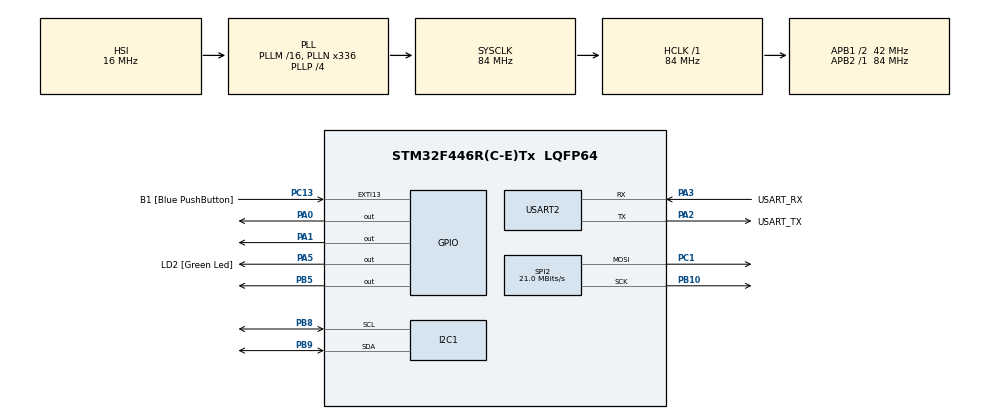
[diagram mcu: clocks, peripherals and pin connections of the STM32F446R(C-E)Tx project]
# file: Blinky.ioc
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Mcu.Family=STM32F4
Mcu.Name=STM32F446R(C-E)Tx
Mcu.Package=LQFP64
NVIC.PriorityGroup=NVIC_PRIORITYGROUP_0
PA0-WKUP.Signal=GPIO_Output
PA1.Signal=GPIO_Output
PA13.GPIO_Label=TMS
PA13.Mode=Serial_Wire
PA13.Signal=SYS_JTMS-SWDIO
PA14.GPIO_Label=TCK
PA14.Mode=Serial_Wire
PA14.Signal=SYS_JTCK-SWCLK
PA2.GPIO_Label=USART_TX
PA2.Mode=Asynchronous
PA2.Signal=USART2_TX
PA3.GPIO_Label=USART_RX
PA3.Mode=Asynchronous
PA3.Signal=USART2_RX
PA5.GPIO_Label=LD2 [Green Led]
PA5.Signal=GPIO_Output
PB10.Mode=TX_Only_Simplex_Unidirect_Master
PB10.Signal=SPI2_SCK
PB5.Signal=GPIO_Output
PB8.Mode=I2C
PB8.Signal=I2C1_SCL
PB9.Mode=I2C
PB9.Signal=I2C1_SDA
PC1.Mode=TX_Only_Simplex_Unidirect_Master
PC1.Signal=SPI2_MOSI
PC13.GPIO_Label=B1 [Blue PushButton]
PC13.GPIO_ModeDefaultEXTI=GPIO_MODE_IT_FALLING
PC13.Signal=GPXTI13
PC14-OSC32_IN.Mode=LSE-External-Oscillator
PC14-OSC32_IN.Signal=RCC_OSC32_IN
PC15-OSC32_OUT.Mode=LSE-External-Oscillator
PC15-OSC32_OUT.Signal=RCC_OSC32_OUT
PH0-OSC_IN.Mode=HSE-External-Oscillator
PH0-OSC_IN.Signal=RCC_OSC_IN
PH1-OSC_OUT.Mode=HSE-External-Oscillator
PH1-OSC_OUT.Signal=RCC_OSC_OUT
ProjectManager.HeapSize=0x200
ProjectManager.StackSize=0x400
ProjectManager.TargetToolchain=STM32CubeIDE
RCC.48MHZClocksFreq_Value=84000000
RCC.AHBFreq_Value=84000000
RCC.APB1CLKDivider=RCC_HCLK_DIV2
RCC.APB1Freq_Value=42000000
RCC.APB1TimFreq_Value=84000000
RCC.APB2Freq_Value=84000000
RCC.APB2TimFreq_Value=84000000
RCC.CortexFreq_Value=84000000
RCC.FLatency-AdvancedSettings=FLASH_LATENCY_2
RCC.HCLKFreq_Value=84000000
RCC.HSE_VALUE=8000000
RCC.HSI_VALUE=16000000
RCC.PLLN=336
RCC.PLLP=RCC_PLLP_DIV4
RCC.SYSCLKFreq_VALUE=84000000
RCC.SYSCLKSource=RCC_SYSCLKSOURCE_PLLCLK
RCC.USBFreq_Value=168000000
RCC.VCOOutputFreq_Value=336000000
SPI2.CLKPolarity=SPI_POLARITY_HIGH
SPI2.CalculateBaudRate=21.0 MBits/s
SPI2.Direction=SPI_DIRECTION_2LINES
SPI2.Mode=SPI_MODE_MASTER
SPI2.VirtualType=VM_MASTER
TIM1.Prescaler=84
USART2.VirtualMode=VM_ASYNC
VP_TIM1_VS_ClockSourceINT.Mode=Internal
board=NUCLEO-F446RE

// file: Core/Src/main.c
/* USER CODE BEGIN Header */
/**
 ******************************************************************************
 * @file           : main.c
 * @brief          : Main program body
 ******************************************************************************
 * @attention
 *
 * Copyright (c) 2025 STMicroelectronics.
 * All rights reserved.
 *
 * This software is licensed under terms that can be found in the LICENSE file
 * in the root directory of this software component.
 * If no LICENSE file comes with this software, it is provided AS-IS.
 *
 ******************************************************************************
 */
/* USER CODE END Header */
#include "main.h"

/* USER CODE BEGIN Includes */
#include <string.h>
#include <stdio.h>
#include <mpu9250.h>
#include <stdint.h>
/* USER CODE END Includes */

/* USER CODE BEGIN PD */
#define DEVICE_ADDRESS 0x68       // MPU9250 I2C address
#define REG_DATA 67            // Starting register for accelerometer data
#define LSB_SENSITIVITY 16384.0
#define DIR_PIN GPIO_PIN_0
#define DIR_PORT GPIOA
#define STEP_PIN GPIO_PIN_1
#define STEP_PORT GPIOA
/* USER CODE END PD */

I2C_HandleTypeDef hi2c1;

SPI_HandleTypeDef hspi2;

TIM_HandleTypeDef htim1;

UART_HandleTypeDef huart2;

void SystemClock_Config(void);
static void MX_GPIO_Init(void);
static void MX_USART2_UART_Init(void);
static void MX_I2C1_Init(void);
static void MX_SPI2_Init(void);
static void MX_TIM1_Init(void);

/* USER CODE BEGIN 0 */
float mpu9250read_xacc(void) {
	uint8_t data[2];              // Buffer to store raw data
	int16_t raw_x_acc;            // 16-bit signed integer for raw acceleration
	float x_acc_g;                // Acceleration in g

	// Read 2 bytes from X-axis high and low registers
	HAL_I2C_Mem_Read(&hi2c1, (DEVICE_ADDRESS << 1), REG_DATA,
			I2C_MEMADD_SIZE_8BIT, data, 2, HAL_MAX_DELAY);

	// Combine the high and low bytes into a signed 16-bit value
	raw_x_acc = (int16_t) ((data[0] << 8) | data[1]);

	// Convert raw acceleration to g
	x_acc_g = (float) raw_x_acc / LSB_SENSITIVITY;

	return x_acc_g;
}

int stepDelay = 1000;
void microDelay (uint16_t delay)
{
  __HAL_TIM_SET_COUNTER(&htim1, 0);
  while (__HAL_TIM_GET_COUNTER(&htim1) < delay);
}
/* USER CODE END 0 */

int main(void)
{

  /* MCU Configuration--------------------------------------------------------*/

  /* Reset of all peripherals, Initializes the Flash interface and the Systick. */
  HAL_Init();

  /* Configure the system clock */
  SystemClock_Config();

  /* Initialize all configured peripherals */
  MX_GPIO_Init();
  MX_USART2_UART_Init();
  MX_I2C1_Init();
  MX_SPI2_Init();
  MX_TIM1_Init();
  /* USER CODE BEGIN 2 */
	float x_acc1;
	char uart_buf[50];
	 HAL_TIM_Base_Start(&htim1);
  /* USER CODE END 2 */

  /* Infinite loop */
  /* USER CODE BEGIN WHILE */
	while (1)

	{

		x_acc1 = mpu9250read_xacc();
		printf("X-axis acceleration: %.5f\r\n", x_acc1);
		//printf("X-axis acceleration (raw): %d deg\n", x_acc);
		snprintf(uart_buf, sizeof(uart_buf), "X-axis Degrees:  %.5f \r\n",
				x_acc1);
		HAL_UART_Transmit(&huart2, (uint8_t*) uart_buf, strlen(uart_buf),
				HAL_MAX_DELAY);
		//HAL_UART_Transmit(&huart2, x_acc[1],sizeof(x_acc[1]), 1000);
		HAL_Delay(10);

		if (x_acc1 > 0.2) {
			HAL_GPIO_WritePin(LD2_GPIO_Port, LD2_Pin, GPIO_PIN_SET);
		}
		//write led high
		else {
			//write led low
			HAL_GPIO_WritePin(LD2_GPIO_Port, LD2_Pin, GPIO_PIN_RESET);
		}

	    int x;
	    HAL_GPIO_WritePin(DIR_PORT, DIR_PIN, GPIO_PIN_SET);
	    for(x=0; x<400; x=x+1)
	    {
	      HAL_GPIO_WritePin(STEP_PORT, STEP_PIN, GPIO_PIN_SET);
	      microDelay(stepDelay);
	      HAL_GPIO_WritePin(STEP_PORT, STEP_PIN, GPIO_PIN_RESET);
	      microDelay(stepDelay);
	    }
	    HAL_Delay(10);
	    HAL_GPIO_WritePin(DIR_PORT, DIR_PIN, GPIO_PIN_RESET);
	    for(x=0; x<400; x=x+1)
	    {
	      HAL_GPIO_WritePin(STEP_PORT, STEP_PIN, GPIO_PIN_SET);
	      microDelay(stepDelay);
	      HAL_GPIO_WritePin(STEP_PORT, STEP_PIN, GPIO_PIN_RESET);
	      microDelay(stepDelay);
	    }
	    HAL_Delay(10);
    /* USER CODE END WHILE */

	}
}

void SystemClock_Config(void)
{
  RCC_OscInitTypeDef RCC_OscInitStruct = {0};
  RCC_ClkInitTypeDef RCC_ClkInitStruct = {0};

  /** Configure the main internal regulator output voltage
  */
  __HAL_RCC_PWR_CLK_ENABLE();
  __HAL_PWR_VOLTAGESCALING_CONFIG(PWR_REGULATOR_VOLTAGE_SCALE3);

  /** Initializes the RCC Oscillators according to the specified parameters
  * in the RCC_OscInitTypeDef structure.
  */
  RCC_OscInitStruct.OscillatorType = RCC_OSCILLATORTYPE_HSI;
  RCC_OscInitStruct.HSIState = RCC_HSI_ON;
  RCC_OscInitStruct.HSICalibrationValue = RCC_HSICALIBRATION_DEFAULT;
  RCC_OscInitStruct.PLL.PLLState = RCC_PLL_ON;
  RCC_OscInitStruct.PLL.PLLSource = RCC_PLLSOURCE_HSI;
  RCC_OscInitStruct.PLL.PLLM = 16;
  RCC_OscInitStruct.PLL.PLLN = 336;
  RCC_OscInitStruct.PLL.PLLP = RCC_PLLP_DIV4;
  RCC_OscInitStruct.PLL.PLLQ = 2;
  RCC_OscInitStruct.PLL.PLLR = 2;
  if (HAL_RCC_OscConfig(&RCC_OscInitStruct) != HAL_OK)
  {
    Error_Handler();
  }

  /** Initializes the CPU, AHB and APB buses clocks
  */
  RCC_ClkInitStruct.ClockType = RCC_CLOCKTYPE_HCLK|RCC_CLOCKTYPE_SYSCLK
                              |RCC_CLOCKTYPE_PCLK1|RCC_CLOCKTYPE_PCLK2;
  RCC_ClkInitStruct.SYSCLKSource = RCC_SYSCLKSOURCE_PLLCLK;
  RCC_ClkInitStruct.AHBCLKDivider = RCC_SYSCLK_DIV1;
  RCC_ClkInitStruct.APB1CLKDivider = RCC_HCLK_DIV2;
  RCC_ClkInitStruct.APB2CLKDivider = RCC_HCLK_DIV1;

  if (HAL_RCC_ClockConfig(&RCC_ClkInitStruct, FLASH_LATENCY_2) != HAL_OK)
  {
    Error_Handler();
  }
}

static void MX_I2C1_Init(void)
{

  hi2c1.Instance = I2C1;
  hi2c1.Init.ClockSpeed = 100000;
  hi2c1.Init.DutyCycle = I2C_DUTYCYCLE_2;
  hi2c1.Init.OwnAddress1 = 0;
  hi2c1.Init.AddressingMode = I2C_ADDRESSINGMODE_7BIT;
  hi2c1.Init.DualAddressMode = I2C_DUALADDRESS_DISABLE;
  hi2c1.Init.OwnAddress2 = 0;
  hi2c1.Init.GeneralCallMode = I2C_GENERALCALL_DISABLE;
  hi2c1.Init.NoStretchMode = I2C_NOSTRETCH_DISABLE;
  if (HAL_I2C_Init(&hi2c1) != HAL_OK)
  {
    Error_Handler();
  }

}

static void MX_SPI2_Init(void)
{

  /* SPI2 parameter configuration*/
  hspi2.Instance = SPI2;
  hspi2.Init.Mode = SPI_MODE_MASTER;
  hspi2.Init.Direction = SPI_DIRECTION_2LINES;
  hspi2.Init.DataSize = SPI_DATASIZE_8BIT;
  hspi2.Init.CLKPolarity = SPI_POLARITY_HIGH;
  hspi2.Init.CLKPhase = SPI_PHASE_1EDGE;
  hspi2.Init.NSS = SPI_NSS_SOFT;
  hspi2.Init.BaudRatePrescaler = SPI_BAUDRATEPRESCALER_2;
  hspi2.Init.FirstBit = SPI_FIRSTBIT_MSB;
  hspi2.Init.TIMode = SPI_TIMODE_DISABLE;
  hspi2.Init.CRCCalculation = SPI_CRCCALCULATION_DISABLE;
  hspi2.Init.CRCPolynomial = 10;
  if (HAL_SPI_Init(&hspi2) != HAL_OK)
  {
    Error_Handler();
  }

}

static void MX_TIM1_Init(void)
{

  TIM_ClockConfigTypeDef sClockSourceConfig = {0};
  TIM_MasterConfigTypeDef sMasterConfig = {0};

  htim1.Instance = TIM1;
  htim1.Init.Prescaler = 84;
  htim1.Init.CounterMode = TIM_COUNTERMODE_UP;
  htim1.Init.Period = 65535;
  htim1.Init.ClockDivision = TIM_CLOCKDIVISION_DIV1;
  htim1.Init.RepetitionCounter = 0;
  htim1.Init.AutoReloadPreload = TIM_AUTORELOAD_PRELOAD_DISABLE;
  if (HAL_TIM_Base_Init(&htim1) != HAL_OK)
  {
    Error_Handler();
  }
  sClockSourceConfig.ClockSource = TIM_CLOCKSOURCE_INTERNAL;
  if (HAL_TIM_ConfigClockSource(&htim1, &sClockSourceConfig) != HAL_OK)
  {
    Error_Handler();
  }
  sMasterConfig.MasterOutputTrigger = TIM_TRGO_RESET;
  sMasterConfig.MasterSlaveMode = TIM_MASTERSLAVEMODE_DISABLE;
  if (HAL_TIMEx_MasterConfigSynchronization(&htim1, &sMasterConfig) != HAL_OK)
  {
    Error_Handler();
  }

}

static void MX_USART2_UART_Init(void)
{

  huart2.Instance = USART2;
  huart2.Init.BaudRate = 115200;
  huart2.Init.WordLength = UART_WORDLENGTH_8B;
  huart2.Init.StopBits = UART_STOPBITS_1;
  huart2.Init.Parity = UART_PARITY_NONE;
  huart2.Init.Mode = UART_MODE_TX_RX;
  huart2.Init.HwFlowCtl = UART_HWCONTROL_NONE;
  huart2.Init.OverSampling = UART_OVERSAMPLING_16;
  if (HAL_UART_Init(&huart2) != HAL_OK)
  {
    Error_Handler();
  }

}

static void MX_GPIO_Init(void)
{
  GPIO_InitTypeDef GPIO_InitStruct = {0};

  /* GPIO Ports Clock Enable */
  __HAL_RCC_GPIOC_CLK_ENABLE();
  __HAL_RCC_GPIOH_CLK_ENABLE();
  __HAL_RCC_GPIOA_CLK_ENABLE();
  __HAL_RCC_GPIOB_CLK_ENABLE();

  /*Configure GPIO pin Output Level */
  HAL_GPIO_WritePin(GPIOA, GPIO_PIN_0|GPIO_PIN_1|LD2_Pin, GPIO_PIN_RESET);

  /*Configure GPIO pin Output Level */
  HAL_GPIO_WritePin(GPIOB, GPIO_PIN_5, GPIO_PIN_RESET);

  /*Configure GPIO pin : B1_Pin */
  GPIO_InitStruct.Pin = B1_Pin;
  GPIO_InitStruct.Mode = GPIO_MODE_IT_FALLING;
  GPIO_InitStruct.Pull = GPIO_NOPULL;
  HAL_GPIO_Init(B1_GPIO_Port, &GPIO_InitStruct);

  /*Configure GPIO pins : PA0 PA1 LD2_Pin */
  GPIO_InitStruct.Pin = GPIO_PIN_0|GPIO_PIN_1|LD2_Pin;
  GPIO_InitStruct.Mode = GPIO_MODE_OUTPUT_PP;
  GPIO_InitStruct.Pull = GPIO_NOPULL;
  GPIO_InitStruct.Speed = GPIO_SPEED_FREQ_LOW;
  HAL_GPIO_Init(GPIOA, &GPIO_InitStruct);

  /*Configure GPIO pin : PB5 */
  GPIO_InitStruct.Pin = GPIO_PIN_5;
  GPIO_InitStruct.Mode = GPIO_MODE_OUTPUT_PP;
  GPIO_InitStruct.Pull = GPIO_NOPULL;
  GPIO_InitStruct.Speed = GPIO_SPEED_FREQ_LOW;
  HAL_GPIO_Init(GPIOB, &GPIO_InitStruct);

}

/* USER CODE BEGIN 4 */

int _write(int file, char *ptr, int len) {
	(void) file;
	int DataIdx;

	for (DataIdx = 0; DataIdx < len; DataIdx++) {
		ITM_SendChar(*ptr++);
	}
	return len;
}

/* USER CODE END 4 */

void Error_Handler(void)
{
	__disable_irq();
	while (1) {
	}
}
